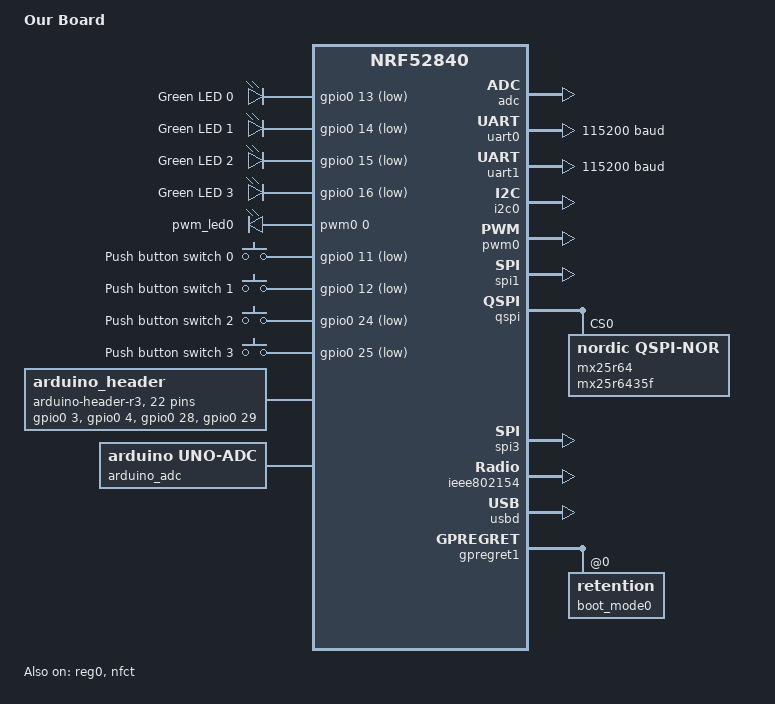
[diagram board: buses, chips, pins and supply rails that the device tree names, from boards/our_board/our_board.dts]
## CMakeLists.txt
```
cmake_minimum_required(VERSION 3.20.0)

list(APPEND BOARD_ROOT ${CMAKE_CURRENT_SOURCE_DIR})
list(APPEND DTS_ROOT ${CMAKE_CURRENT_SOURCE_DIR})
set(DTC_OVERLAY_FILE ${CMAKE_CURRENT_SOURCE_DIR}/src/app.overlay)

find_package(Zephyr REQUIRED)
project(my_zephyr_app)

target_sources(app PRIVATE
    src/main.cpp
    src/sensor_shell.c
)
add_subdirectory(driver/our_driver)
```

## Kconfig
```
menuconfig LED_SUBSYSTEM
	bool "LED Subsystem"
	default y
	help
	  Top-level enable for LED-related configuration used by this application.

if LED_SUBSYSTEM

config APP_HEARTBEAT_PERIOD_MS
	int "Application heartbeat period (ms)"
	range 100 2000
	default 500

menuconfig ADVANCED_LED_SETTINGS
	bool "Advanced LED settings"
	help
	  Brightness and fade timing.

if ADVANCED_LED_SETTINGS

config LED_BRIGHTNESS
	int "Brightness (percent)"
	range 0 100
	default 100
	help
	  LED brightness level from 0 (off) to 100 (full).

config LED_FADE_MS
	int "Fade duration (ms)"
	range 0 5000
	default 0
	help
	  Fade transition duration in milliseconds (0 disables fade).

endif # ADVANCED_LED_SETTINGS

config LED_EXPERT_SETTINGS
	bool "Expert settings"
	depends on ADVANCED_LED_SETTINGS
	help
	  When enabled, shows the Expert settings menu in menuconfig.

menu "Expert settings"
	depends on ADVANCED_LED_SETTINGS && LED_EXPERT_SETTINGS

config LED_EXPERT_VERBOSE
	bool "Verbose LED debug"
	help
	  Example option visible only when Expert settings is enabled.

endmenu

endif # LED_SUBSYSTEM

source "Kconfig.zephyr"
rsource "driver/our_driver/Kconfig"
```

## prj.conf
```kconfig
CONFIG_GPIO=y
CONFIG_LOG=y
CONFIG_SENSOR=y
CONFIG_OUR_DRIVER=y

CONFIG_UART_CONSOLE=y
CONFIG_SHELL_BACKEND_SERIAL=y

CONFIG_SHELL=y
CONFIG_SHELL_CMDS=y
CONFIG_SHELL_TAB=y
CONFIG_SHELL_TAB_AUTOCOMPLETION=y
CONFIG_SHELL_HISTORY=y
```

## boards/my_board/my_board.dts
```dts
/dts-v1/;
#include <nordic/nrf52840_qiaa.dtsi>
#include <nordic/nrf52840_partition.dtsi>

/ {
	model = "My Board";
	compatible = "iomico,my-board";

	chosen {
		zephyr,console = &uart0;
	};

	aliases {
		led0 = &led0;
		led1 = &led1;
		led2 = &led2;
	};

	leds {
		compatible = "gpio-leds";

		led0: led_0 {
			gpios = <&gpio0 13 GPIO_ACTIVE_LOW>;
			label = "Green LED 0";
		};

		led1: led_1 {
			gpios = <&gpio0 14 GPIO_ACTIVE_LOW>;
			label = "Green LED 1";
		};

		led2: led_2 {
			gpios = <&gpio0 15 GPIO_ACTIVE_LOW>;
			label = "Green LED 2";
		};
	};
};

/* Same UART pins as nRF52840 DK (VCOM on the development kit). */
&pinctrl {
	uart0_default: uart0_default {
		group1 {
			psels = <NRF_PSEL(UART_TX, 0, 6)>,
				 <NRF_PSEL(UART_RTS, 0, 5)>;
		};

		group2 {
			psels = <NRF_PSEL(UART_RX, 0, 8)>,
				 <NRF_PSEL(UART_CTS, 0, 7)>;
			bias-pull-up;
		};
	};

	uart0_sleep: uart0_sleep {
		group1 {
			psels = <NRF_PSEL(UART_TX, 0, 6)>,
				 <NRF_PSEL(UART_RX, 0, 8)>,
				 <NRF_PSEL(UART_RTS, 0, 5)>,
				 <NRF_PSEL(UART_CTS, 0, 7)>;
			low-power-enable;
		};
	};
};

&gpiote {
	status = "okay";
};

&gpio0 {
	status = "okay";
};

&uart0 {
	compatible = "nordic,nrf-uarte";
	status = "okay";
	current-speed = <115200>;
	pinctrl-0 = <&uart0_default>;
	pinctrl-1 = <&uart0_sleep>;
	pinctrl-names = "default", "sleep";
};
```

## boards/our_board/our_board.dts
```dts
/*
 * Copyright (c) 2017 Linaro Limited
 *
 * SPDX-License-Identifier: Apache-2.0
 */

/dts-v1/;
#include <nordic/nrf52840_qiaa.dtsi>
#include <nordic/nrf52840_partition.dtsi>
#include "nrf52840dk_nrf52840-pinctrl.dtsi"
#include <zephyr/dt-bindings/input/input-event-codes.h>

/ {
	model = "Our Board";

	compatible = "iomico,our-board";

	chosen {
		zephyr,console = &uart0;
		zephyr,shell-uart = &uart0;
		zephyr,uart-mcumgr = &uart0;
		zephyr,bt-mon-uart = &uart0;
		zephyr,bt-c2h-uart = &uart0;
		zephyr,ieee802154 = &ieee802154;
		zephyr,boot-mode = &boot_mode0;
	};

	leds {
		compatible = "gpio-leds";

		led0: led_0 {
			gpios = <&gpio0 13 GPIO_ACTIVE_LOW>;
			label = "Green LED 0";
		};

		led1: led_1 {
			gpios = <&gpio0 14 GPIO_ACTIVE_LOW>;
			label = "Green LED 1";
		};

		led2: led_2 {
			gpios = <&gpio0 15 GPIO_ACTIVE_LOW>;
			label = "Green LED 2";
		};

		led3: led_3 {
			gpios = <&gpio0 16 GPIO_ACTIVE_LOW>;
			label = "Green LED 3";
		};
	};

	pwmleds {
		compatible = "pwm-leds";

		pwm_led0: pwm_led_0 {
			pwms = <&pwm0 0 PWM_MSEC(20) PWM_POLARITY_INVERTED>;
		};
	};

	buttons {
		compatible = "gpio-keys";

		button0: button_0 {
			gpios = <&gpio0 11 (GPIO_PULL_UP | GPIO_ACTIVE_LOW)>;
			label = "Push button switch 0";
			zephyr,code = <INPUT_KEY_0>;
		};

		button1: button_1 {
			gpios = <&gpio0 12 (GPIO_PULL_UP | GPIO_ACTIVE_LOW)>;
			label = "Push button switch 1";
			zephyr,code = <INPUT_KEY_1>;
		};

		button2: button_2 {
			gpios = <&gpio0 24 (GPIO_PULL_UP | GPIO_ACTIVE_LOW)>;
			label = "Push button switch 2";
			zephyr,code = <INPUT_KEY_2>;
		};

		button3: button_3 {
			gpios = <&gpio0 25 (GPIO_PULL_UP | GPIO_ACTIVE_LOW)>;
			label = "Push button switch 3";
			zephyr,code = <INPUT_KEY_3>;
		};
	};

	arduino_header: connector {
		compatible = "arduino-header-r3";
		#gpio-cells = <2>;
		gpio-map-mask = <0xffffffff 0xffffffc0>;
		gpio-map-pass-thru = <0 0x3f>;
		gpio-map = <0 0 &gpio0 3 0>,	/* A0 */
			   <1 0 &gpio0 4 0>,	/* A1 */
			   <2 0 &gpio0 28 0>,	/* A2 */
			   <3 0 &gpio0 29 0>,	/* A3 */
			   <4 0 &gpio0 30 0>,	/* A4 */
			   <5 0 &gpio0 31 0>,	/* A5 */
			   <6 0 &gpio1 1 0>,	/* D0 */
			   <7 0 &gpio1 2 0>,	/* D1 */
			   <8 0 &gpio1 3 0>,	/* D2 */
			   <9 0 &gpio1 4 0>,	/* D3 */
			   <10 0 &gpio1 5 0>,	/* D4 */
			   <11 0 &gpio1 6 0>,	/* D5 */
			   <12 0 &gpio1 7 0>,	/* D6 */
			   <13 0 &gpio1 8 0>,	/* D7 */
			   <14 0 &gpio1 10 0>,	/* D8 */
			   <15 0 &gpio1 11 0>,	/* D9 */
			   <16 0 &gpio1 12 0>,	/* D10 */
			   <17 0 &gpio1 13 0>,	/* D11 */
			   <18 0 &gpio1 14 0>,	/* D12 */
			   <19 0 &gpio1 15 0>,	/* D13 */
			   <20 0 &gpio0 26 0>,	/* D14 */
			   <21 0 &gpio0 27 0>;	/* D15 */
	};

	arduino_adc: analog-connector {
		compatible = "arduino,uno-adc";
		#io-channel-cells = <1>;
		io-channel-map = <0 &adc 1>,	/* A0 = P0.3 = AIN1 */
				 <1 &adc 2>,	/* A1 = P0.4 = AIN2 */
				 <2 &adc 4>,	/* A2 = P0.28 = AIN4 */
				 <3 &adc 5>,	/* A3 = P0.29 = AIN5 */
				 <4 &adc 6>,	/* A4 = P0.30 = AIN6 */
				 <5 &adc 7>;	/* A5 = P0.31 = AIN7 */
	};

	/* These aliases are provided for compatibility with samples */
	aliases {
		led0 = &led0;
		led1 = &led1;
		led2 = &led2;
		led3 = &led3;
		pwm-led0 = &pwm_led0;
		sw0 = &button0;
		sw1 = &button1;
		sw2 = &button2;
		sw3 = &button3;
		bootloader-led0 = &led0;
		mcuboot-button0 = &button0;
		mcuboot-led0 = &led0;
		watchdog0 = &wdt0;
	};
};

&reg0 {
	status = "okay";
};

&reg1 {
	regulator-initial-mode = <NRF5X_REG_MODE_DCDC>;
};

&adc {
	status = "okay";
};

&uicr {
	gpio-as-nreset;
};

&gpiote {
	status = "okay";
};

&nfct {
	status = "okay";
};

&gpio0 {
	status = "okay";
	gpio-reserved-ranges = <0 2>, <6 1>, <8 3>, <17 7>;
	gpio-line-names = "XL1", "XL2", "AREF", "A0", "A1", "RTS", "TXD",
		"CTS", "RXD", "NFC1", "NFC2", "BUTTON1", "BUTTON2", "LED1",
		"LED2", "LED3", "LED4", "QSPI CS", "RESET", "QSPI CLK",
		"QSPI DIO0", "QSPI DIO1", "QSPI DIO2", "QSPI DIO3","BUTTON3",
		"BUTTON4", "SDA", "SCL", "A2", "A3", "A4", "A5";
};

&gpio1 {
	status = "okay";
	gpio-line-names = "", "D0", "D1", "D2", "D3", "D4", "D5", "D6",
		"D7", "", "D8", "D9", "D10", "D11", "D12", "D13";
};

&uart0 {
	compatible = "nordic,nrf-uarte";
	status = "okay";
	current-speed = <115200>;
	pinctrl-0 = <&uart0_default>;
	pinctrl-1 = <&uart0_sleep>;
	pinctrl-names = "default", "sleep";
};

arduino_serial: &uart1 {
	current-speed = <115200>;
	pinctrl-0 = <&uart1_default>;
	pinctrl-1 = <&uart1_sleep>;
	pinctrl-names = "default", "sleep";
};

arduino_i2c: &i2c0 {
	compatible = "nordic,nrf-twi";
	status = "okay";
	pinctrl-0 = <&i2c0_default>;
	pinctrl-1 = <&i2c0_sleep>;
	pinctrl-names = "default", "sleep";
};

&i2c1 {
	compatible = "nordic,nrf-twi";
	/* Cannot be used together with spi1. */
	/* status = "okay"; */
	pinctrl-0 = <&i2c1_default>;
	pinctrl-1 = <&i2c1_sleep>;
	pinctrl-names = "default", "sleep";
};

&pwm0 {
	status = "okay";
	pinctrl-0 = <&pwm0_default>;
	pinctrl-1 = <&pwm0_sleep>;
	pinctrl-names = "default", "sleep";
};

&spi0 {
	compatible = "nordic,nrf-spi";
	/* Cannot be used together with i2c0. */
	/* status = "okay"; */
	pinctrl-0 = <&spi0_default>;
	pinctrl-1 = <&spi0_sleep>;
	pinctrl-names = "default", "sleep";
};

&spi1 {
	compatible = "nordic,nrf-spi";
	status = "okay";
	pinctrl-0 = <&spi1_default>;
	pinctrl-1 = <&spi1_sleep>;
	pinctrl-names = "default", "sleep";
};

&spi2 {
	compatible = "nordic,nrf-spi";
	status = "disabled";
	pinctrl-0 = <&spi2_default>;
	pinctrl-1 = <&spi2_sleep>;
	pinctrl-names = "default", "sleep";
};

&qspi {
	status = "okay";
	pinctrl-0 = <&qspi_default>;
	pinctrl-1 = <&qspi_sleep>;
	pinctrl-names = "default", "sleep";

	mx25r64: mx25r6435f@0 {
		compatible = "nordic,qspi-nor";
		reg = <0>;
		/* MX25R64 supports only pp and pp4io */
		writeoc = "pp4io";
		/* MX25R64 supports all readoc options */
		readoc = "read4io";
		sck-frequency = <8000000>;
		jedec-id = [c2 28 17];
		sfdp-bfp = [
			e5 20 f1 ff  ff ff ff 03  44 eb 08 6b  08 3b 04 bb
			ee ff ff ff  ff ff 00 ff  ff ff 00 ff  0c 20 0f 52
			10 d8 00 ff  23 72 f5 00  82 ed 04 cc  44 83 68 44
			30 b0 30 b0  f7 c4 d5 5c  00 be 29 ff  f0 d0 ff ff
		];
		size = <67108864>;
		has-dpd;
		t-enter-dpd = <10000>;
		t-exit-dpd = <35000>;
	};
};

arduino_spi: &spi3 {
	status = "okay";
	cs-gpios = <&arduino_header 16 GPIO_ACTIVE_LOW>; /* D10 */
	pinctrl-0 = <&spi3_default>;
	pinctrl-1 = <&spi3_sleep>;
	pinctrl-names = "default", "sleep";
};

&ieee802154 {
	status = "okay";
};

zephyr_udc0: &usbd {
	compatible = "nordic,nrf-usbd";
	status = "okay";
};

&gpregret1 {
	status = "okay";

	boot_mode0: boot_mode@0 {
		compatible = "zephyr,retention";
		status = "okay";
		reg = <0x0 0x1>;
	};
};
```

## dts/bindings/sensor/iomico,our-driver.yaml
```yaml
description: Iomico course custom sensor driver

include: base.yaml

compatible: "iomico,our-driver"

properties:
  gpios:
    type: phandle-array
    required: true
```

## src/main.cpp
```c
#include <zephyr/kernel.h>
#include <zephyr/device.h>
#include <zephyr/drivers/sensor.h>
#include <our_driver.h>

#define OUR_DRIVER_NODE DT_ALIAS(led)

int main(void)
{
	const struct device *dev = DEVICE_DT_GET(OUR_DRIVER_NODE);

	if (!device_is_ready(dev)) {
		printk("Our driver not ready\n");
		return -ENODEV;
	}

	our_driver_set_message(dev, "heartbeat");

	printk("LED blinking (period %d ms). Shell: sensor fetch/read/info/set/toggle\n",
	       CONFIG_APP_HEARTBEAT_PERIOD_MS);

	while (true) {
		struct sensor_value val;
		int ret;

		ret = sensor_sample_fetch(dev);
		if (ret < 0) {
			printk("sample_fetch failed: %d\n", ret);
			k_msleep(CONFIG_APP_HEARTBEAT_PERIOD_MS);
			continue;
		}
		k_msleep(CONFIG_APP_HEARTBEAT_PERIOD_MS / 2);

		ret = sensor_channel_get(dev, SENSOR_CHAN_ALL, &val);
		if (ret < 0) {
			printk("channel_get failed: %d\n", ret);
			k_msleep(CONFIG_APP_HEARTBEAT_PERIOD_MS);
			continue;
		}
		k_msleep(CONFIG_APP_HEARTBEAT_PERIOD_MS / 2);
	}

	return 0;
}
```

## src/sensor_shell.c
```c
#include <stdlib.h>
#include <string.h>

#include <zephyr/device.h>
#include <zephyr/drivers/sensor.h>
#include <zephyr/shell/shell.h>

#include <our_driver.h>

static const struct device *get_our_driver(void)
{
	return DEVICE_DT_GET(DT_ALIAS(led));
}

static int cmd_sensor_fetch(const struct shell *sh, size_t argc, char **argv)
{
	const struct device *dev = get_our_driver();

	ARG_UNUSED(argc);
	ARG_UNUSED(argv);

	if (!device_is_ready(dev)) {
		shell_error(sh, "Sensor not available");
		return -ENODEV;
	}

	int ret = sensor_sample_fetch(dev);
	if (ret) {
		shell_error(sh, "fetch failed: %d", ret);
		return ret;
	}

	shell_print(sh, "fetch OK - LED on");
	return 0;
}

static int cmd_sensor_read(const struct shell *sh, size_t argc, char **argv)
{
	const struct device *dev = get_our_driver();

	ARG_UNUSED(argc);
	ARG_UNUSED(argv);

	if (!device_is_ready(dev)) {
		shell_error(sh, "Sensor not available");
		return -ENODEV;
	}

	struct sensor_value val;
	int ret = sensor_channel_get(dev, SENSOR_CHAN_ALL, &val);
	if (ret) {
		shell_error(sh, "channel_get failed: %d", ret);
		return ret;
	}

	shell_print(sh, "read OK - LED off, val=%d.%06d", val.val1, val.val2);
	return 0;
}

static int cmd_sensor_info(const struct shell *sh, size_t argc, char **argv)
{
	const struct device *dev = get_our_driver();

	ARG_UNUSED(argc);
	ARG_UNUSED(argv);

	shell_print(sh, "Device name : %s", dev->name);
	shell_print(sh, "Device ready: %s", device_is_ready(dev) ? "YES" : "NO");
	return 0;
}

static int cmd_sensor_set(const struct shell *sh, size_t argc, char **argv)
{
	const struct device *dev = get_our_driver();

	ARG_UNUSED(argc);

	if (!device_is_ready(dev)) {
		shell_error(sh, "Sensor not available");
		return -ENODEV;
	}

	if (strlen(argv[1]) == 0) {
		shell_error(sh, "Error: message must not be empty");
		return -EINVAL;
	}

	if (strlen(argv[1]) > 63) {
		shell_error(sh, "Error: message too long (max 63 chars)");
		return -EINVAL;
	}

	our_driver_set_message(dev, argv[1]);
	shell_print(sh, "Message set: %s", argv[1]);
	return 0;
}

static int cmd_sensor_toggle(const struct shell *sh, size_t argc, char **argv)
{
	const struct device *dev = get_our_driver();

	ARG_UNUSED(argc);

	if (!device_is_ready(dev)) {
		shell_error(sh, "Sensor not available");
		return -ENODEV;
	}

	int count = atoi(argv[1]);

	if (count < 0 || count > 20) {
		shell_error(sh, "Error: value out of range (0-20), got: %d", count);
		return -EINVAL;
	}

	our_driver_set_toggle_count(dev, count);
	shell_print(sh, "toggle_count set to %d", count);
	return 0;
}

SHELL_STATIC_SUBCMD_SET_CREATE(sub_sensor,
	SHELL_CMD(fetch, NULL, "Fetch sensor sample (LED ON)", cmd_sensor_fetch),
	SHELL_CMD(read,  NULL, "Read sensor channel (LED OFF)", cmd_sensor_read),
	SHELL_CMD(info,  NULL, "Print device info", cmd_sensor_info),
	SHELL_CMD_ARG(set,    NULL, "Set display message <msg>", cmd_sensor_set, 2, 0),
	SHELL_CMD_ARG(toggle, NULL, "Set toggle count <0-20>", cmd_sensor_toggle, 2, 0),
	SHELL_SUBCMD_SET_END
);

SHELL_CMD_REGISTER(sensor, &sub_sensor, "Our driver commands", NULL);
```
